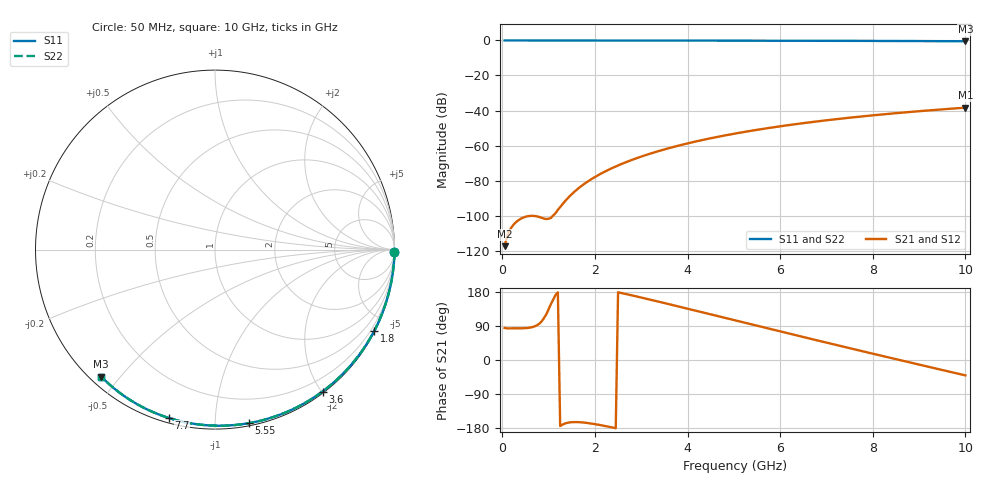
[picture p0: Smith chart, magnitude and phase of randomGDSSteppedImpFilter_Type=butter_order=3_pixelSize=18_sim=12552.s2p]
! freq	dB(S11)	phase(S11)	dB(S12)	phase(S12)
!  dB(S21)	phase(S21)	dB(S22)	phase(S22)
!S-par simulation data
#  GHz  S  DB  R 50
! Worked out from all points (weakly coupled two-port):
!   200 points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, 50 MHz to 10 GHz, reference 50 ohm
!   highest |S21| = -38.38 dB at 10 GHz (marker M1); lowest = -117.5 dB at 50 MHz (marker M2)
!   lowest |S11| = -0.4 dB at 10 GHz (marker M3), VSWR 39.00, Z = 1.54 - j22.3 ohm
!   |S11| at or under -10 dB: nowhere
!   |S22| runs from -0.4 to 0.0 dB; largest |S21 - S12| = 0
!   S11 on the Smith chart (normalised r, x): 50 MHz: open; 1.8 GHz: 0.04, -4.16; 3.6 GHz: 0.02, -2.01; 5.55 GHz: 0.02, -1.21; 7.7 GHz: 0.02, -0.76; 10 GHz: 0.03, -0.45
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0.05  -0.00 -0.8  -117.47 84.8  -117.47 84.8  -0.00 -0.8
0.9  -0.02 -13.6  -101.69 110.6  -101.69 110.6  -0.02 -13.6
1.75  -0.03 -26.3  -82.29 -165.0  -82.29 -165.0  -0.03 -26.3
1.8  -0.03 -27.0  -81.35 -165.7  -81.35 -165.7  -0.03 -27.0
1.85  -0.04 -27.8  -80.46 -166.4  -80.46 -166.4  -0.04 -27.8
1.9  -0.04 -28.5  -79.60 -167.3  -79.60 -167.3  -0.04 -28.5
2.05  -0.04 -30.7  -77.22 -170.3  -77.22 -170.3  -0.04 -30.7
2.25  -0.04 -33.6  -74.42 -174.9  -74.42 -174.9  -0.04 -33.6
2.45  -0.05 -36.5  -71.94 -180.0  -71.94 -180.0  -0.05 -36.5
2.65  -0.05 -39.4  -69.72 174.7  -69.72 174.7  -0.05 -39.4
3  -0.06 -44.4  -66.31 164.8  -66.31 164.8  -0.06 -44.4
3.4  -0.07 -50.1  -62.97 153.2  -62.97 153.2  -0.07 -50.1
3.6  -0.07 -52.9  -61.48 147.3  -61.48 147.3  -0.07 -52.9
4.3  -0.09 -62.5  -56.97 126.4  -56.97 126.4  -0.09 -62.5
5.05  -0.11 -72.4  -53.05 103.9  -53.05 103.9  -0.11 -72.5
5.55  -0.13 -78.9  -50.82 88.9  -50.82 88.9  -0.13 -78.9
6.1  -0.15 -85.9  -48.64 72.5  -48.64 72.5  -0.15 -85.9
6.7  -0.18 -93.4  -46.55 54.7  -46.55 54.7  -0.18 -93.4
7.7  -0.24 -105.4  -43.56 25.4  -43.56 25.4  -0.24 -105.4
8.35  -0.29 -113.0  -41.89 6.5  -41.89 6.5  -0.29 -113.0
9.15  -0.36 -122.2  -40.07 -16.4  -40.07 -16.4  -0.36 -122.2
10  -0.45 -131.9  -38.38 -40.6  -38.38 -40.6  -0.45 -131.9
